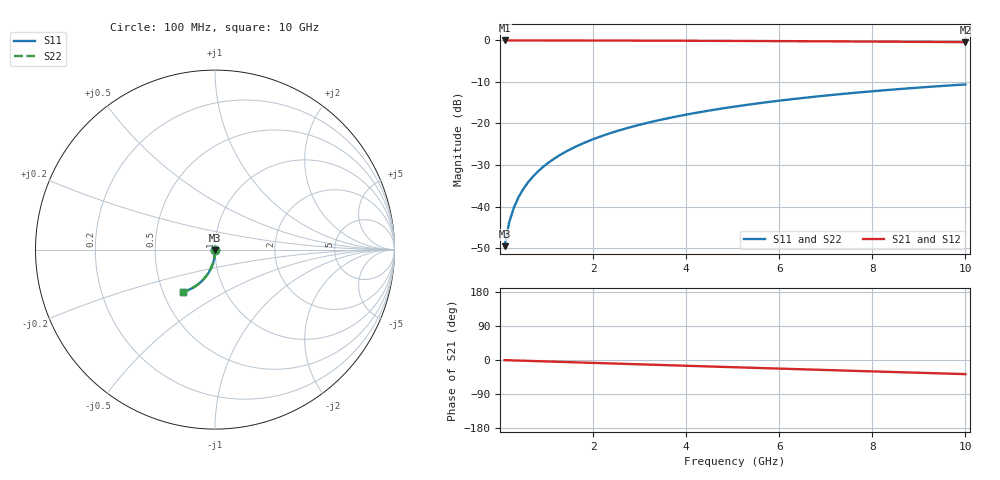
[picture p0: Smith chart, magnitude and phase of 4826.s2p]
# Hz S RI R 50.00
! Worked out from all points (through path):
!   100 points, 100 MHz to 10 GHz, reference 50 ohm
!   highest |S21| = -0.01 dB at 100 MHz (marker M1); lowest = -0.4 dB at 10 GHz (marker M2)
!   group delay of S21, straight-line fit = 10.4 ps
!   lowest |S11| = -49.5 dB at 100 MHz (marker M3), VSWR 1.01, Z = 50.1 - j0.325 ohm
!   |S11| at or under -10 dB: start of sweep to end of sweep
!   |S22| runs from -49.5 to -10.6 dB; largest |S21 - S12| = 0
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1e8  0.000764 -0.00324  0.9992 -0.00664  0.9992 -0.00664  0.000764 -0.00324
2e8  0.0007 -0.00648  0.9991 -0.0133  0.9991 -0.0133  0.0007 -0.00648
3e8  0.000592 -0.00972  0.9989 -0.0199  0.9989 -0.0199  0.000592 -0.00972
4e8  0.000439 -0.013  0.9987 -0.0265  0.9987 -0.0265  0.000439 -0.013
5e8  0.000244 -0.0162  0.9985 -0.0332  0.9985 -0.0332  0.000244 -0.0162
6e8  5.02e-06 -0.0194  0.9982 -0.0398  0.9982 -0.0398  5.02e-06 -0.0194
7e8  -0.000277 -0.0227  0.9978 -0.0464  0.9978 -0.0464  -0.000277 -0.0227
8e8  -0.000602 -0.0259  0.9974 -0.0531  0.9974 -0.0531  -0.000602 -0.0259
9e8  -0.00097 -0.0291  0.9969 -0.0597  0.9969 -0.0597  -0.00097 -0.0291
1.1e9  -0.00183 -0.0355  0.9958 -0.0729  0.9958 -0.0729  -0.00183 -0.0355
1.4e9  -0.00345 -0.0451  0.9938 -0.0927  0.9938 -0.0927  -0.00345 -0.0451
1.8e9  -0.0062 -0.0578  0.9903 -0.119  0.9903 -0.119  -0.0062 -0.0578
2.1e9  -0.00869 -0.0672  0.9871 -0.1386  0.9871 -0.1386  -0.00869 -0.0672
2.5e9  -0.0126 -0.0795  0.9821 -0.1645  0.9821 -0.1645  -0.0126 -0.0795
2.9e9  -0.0171 -0.0917  0.9763 -0.1903  0.9763 -0.1903  -0.0171 -0.0917
3.4e9  -0.0237 -0.1064  0.9679 -0.2221  0.9679 -0.2221  -0.0237 -0.1064
4.2e9  -0.0361 -0.129  0.9518 -0.2719  0.9518 -0.2719  -0.0361 -0.129
5.1e9  -0.0528 -0.1525  0.9302 -0.3262  0.9302 -0.3262  -0.0528 -0.1525
5.9e9  -0.0697 -0.1715  0.908 -0.3726  0.908 -0.3726  -0.0697 -0.1715
6.7e9  -0.0884 -0.1886  0.8833 -0.4171  0.8833 -0.4171  -0.0884 -0.1886
8.4e9  -0.1327 -0.2176  0.8233 -0.5045  0.8233 -0.5045  -0.1327 -0.2176
1e10  -0.1783 -0.2353  0.7594 -0.5774  0.7594 -0.5774  -0.1783 -0.2353
